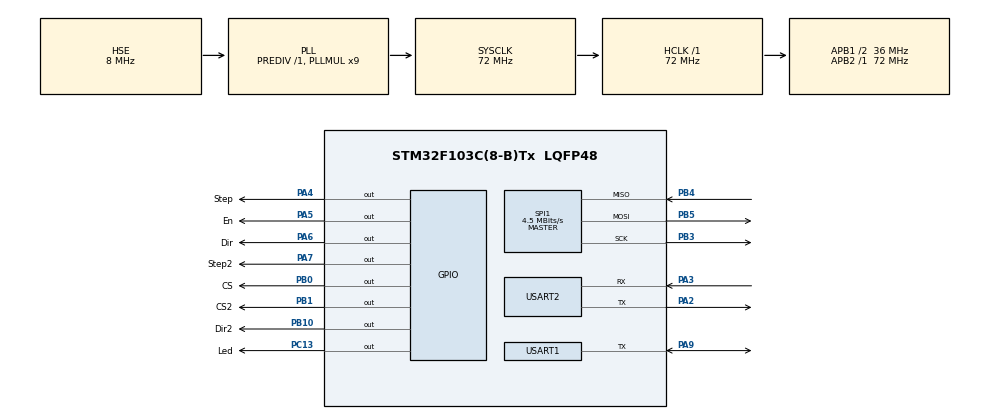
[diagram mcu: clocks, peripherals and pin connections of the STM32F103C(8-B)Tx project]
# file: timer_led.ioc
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Mcu.Family=STM32F1
Mcu.Name=STM32F103C(8-B)Tx
Mcu.Package=LQFP48
Mcu.UserConstants=T1_CNT,50000;T2_CNT,1000;T3_CNT,500
NVIC.PriorityGroup=NVIC_PRIORITYGROUP_4
NVIC.SPI1_IRQn=true\:0\:0\:false\:false\:true\:true\:true\:true
NVIC.TIM1_UP_IRQn=true\:0\:0\:false\:false\:true\:true\:true\:true
NVIC.TIM2_IRQn=true\:0\:0\:false\:false\:true\:true\:true\:true
NVIC.TIM3_IRQn=true\:0\:0\:false\:false\:true\:true\:true\:true
NVIC.USART1_IRQn=true\:0\:0\:false\:false\:true\:true\:true\:true
PA13.Mode=Serial_Wire
PA13.Signal=SYS_JTMS-SWDIO
PA14.Mode=Serial_Wire
PA14.Signal=SYS_JTCK-SWCLK
PA2.Mode=Asynchronous
PA2.Signal=USART2_TX
PA3.Mode=Asynchronous
PA3.Signal=USART2_RX
PA4.GPIO_Label=Step
PA4.Signal=GPIO_Output
PA5.GPIO_Label=En
PA5.Signal=GPIO_Output
PA6.GPIO_Label=Dir
PA6.Signal=GPIO_Output
PA7.GPIO_Label=Step2
PA7.Signal=GPIO_Output
PA9.Mode=Half_duplex(single_wire_mode)
PA9.Signal=USART1_TX
PB0.GPIO_Label=CS
PB0.Signal=GPIO_Output
PB1.GPIO_Label=CS2
PB1.Signal=GPIO_Output
PB10.GPIO_Label=Dir2
PB10.Signal=GPIO_Output
PB3.Mode=Full_Duplex_Master
PB3.Signal=SPI1_SCK
PB4.Mode=Full_Duplex_Master
PB4.Signal=SPI1_MISO
PB5.Mode=Full_Duplex_Master
PB5.Signal=SPI1_MOSI
PC13-TAMPER-RTC.GPIO_Label=Led
PC13-TAMPER-RTC.Signal=GPIO_Output
PD0-OSC_IN.Mode=HSE-External-Oscillator
PD0-OSC_IN.Signal=RCC_OSC_IN
PD1-OSC_OUT.Mode=HSE-External-Oscillator
PD1-OSC_OUT.Signal=RCC_OSC_OUT
ProjectManager.HeapSize=0x200
ProjectManager.StackSize=0x400
ProjectManager.TargetToolchain=STM32CubeIDE
RCC.AHBFreq_Value=72000000
RCC.APB1CLKDivider=RCC_HCLK_DIV2
RCC.APB1Freq_Value=36000000
RCC.APB1TimFreq_Value=72000000
RCC.APB2Freq_Value=72000000
RCC.APB2TimFreq_Value=72000000
RCC.HCLKFreq_Value=72000000
RCC.PLLMUL=RCC_PLL_MUL9
RCC.PLLSourceVirtual=RCC_PLLSOURCE_HSE
RCC.SYSCLKFreq_VALUE=72000000
RCC.SYSCLKSource=RCC_SYSCLKSOURCE_PLLCLK
RCC.USBFreq_Value=72000000
SPI1.BaudRatePrescaler=SPI_BAUDRATEPRESCALER_16
SPI1.CalculateBaudRate=4.5 MBits/s
SPI1.Direction=SPI_DIRECTION_2LINES
SPI1.Mode=SPI_MODE_MASTER
SPI1.VirtualType=VM_MASTER
TIM1.Period=50000
TIM1.Prescaler=719
TIM1.TIM_MasterOutputTrigger=TIM_TRGO_UPDATE
TIM2.Period=50000
TIM2.Prescaler=719
TIM2.TIM_MasterOutputTrigger=TIM_TRGO_UPDATE
TIM3.Period=50000
TIM3.Prescaler=719
TIM3.TIM_MasterOutputTrigger=TIM_TRGO_UPDATE
USART1.VirtualMode=VM_ASYNC
USART2.VirtualMode=VM_ASYNC
VP_TIM1_VS_ClockSourceINT.Mode=Internal
VP_TIM2_VS_ClockSourceINT.Mode=Internal
VP_TIM3_VS_ClockSourceINT.Mode=Internal
board=custom

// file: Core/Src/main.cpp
/* USER CODE BEGIN Header */
/**
  ******************************************************************************
  * @file           : main.c
  * @brief          : Main program body
  ******************************************************************************
  * @attention
  *
  * Copyright (c) 2023 STMicroelectronics.
  * All rights reserved.
  *
  * This software is licensed under terms that can be found in the LICENSE file
  * in the root directory of this software component.
  * If no LICENSE file comes with this software, it is provided AS-IS.
  *
  ******************************************************************************
  */
/* USER CODE END Header */
#include "main.h"

/* USER CODE BEGIN Includes */
#include <DWT_Delay.h>
#include "TMC2209.h"
#include "AMT22.h"
/* USER CODE END Includes */

SPI_HandleTypeDef hspi1;

TIM_HandleTypeDef htim1;
TIM_HandleTypeDef htim2;
TIM_HandleTypeDef htim3;

UART_HandleTypeDef huart1;
UART_HandleTypeDef huart2;

TMC2209 tmcd1,tmcd0;

uint8_t rx_index = 0;
uint8_t rx_data[20];
uint8_t rx_buffer[9];
uint8_t transfer_cplt = 0;

bool startMove=false;
uint16_t recAngle=0;
uint16_t recDist=0;
bool flagReadEnc = 0;

int cnt1=0;
int cnt2=0;
int cnt3=0;

void SystemClock_Config(void);
static void MX_GPIO_Init(void);
static void MX_TIM1_Init(void);
static void MX_TIM2_Init(void);
static void MX_TIM3_Init(void);
static void MX_USART1_UART_Init(void);
static void MX_USART2_UART_Init(void);
static void MX_SPI1_Init(void);

/* USER CODE BEGIN 0 */
// Override the weak call back function
void HAL_TIM_PeriodElapsedCallback(TIM_HandleTypeDef *htim) {
      if (htim->Instance == TIM1) {
    	  HAL_GPIO_TogglePin(Led_GPIO_Port, Led_Pin);
    	  if (--cnt1==0)
    		  HAL_TIM_Base_Stop_IT(&htim1);
      }
      if (htim->Instance == TIM2) {
    	  HAL_GPIO_TogglePin(Step_GPIO_Port, Step_Pin);
    	  if (--cnt2==0)
    		  HAL_TIM_Base_Stop_IT(&htim2);
      }
      if (htim->Instance == TIM3) {
    	  HAL_GPIO_TogglePin(Step2_GPIO_Port, Step2_Pin);
    	  if (--cnt3==0)
    		  HAL_TIM_Base_Stop_IT(&htim3);
      }
}
/* USER CODE END 0 */

int main(void)
{

  /* MCU Configuration--------------------------------------------------------*/

  /* Reset of all peripherals, Initializes the Flash interface and the Systick. */
  HAL_Init();

  /* Configure the system clock */
  SystemClock_Config();

  /* Initialize all configured peripherals */
  MX_GPIO_Init();
  MX_TIM1_Init();
  MX_TIM2_Init();
  MX_TIM3_Init();
  MX_USART1_UART_Init();
  MX_USART2_UART_Init();
  MX_SPI1_Init();
  /* USER CODE BEGIN 2 */
  //HAL_TIM_Base_Start_IT(&htim1);
  //HAL_TIM_Base_Start_IT(&htim2);
  //HAL_Delay(10000);
  //HAL_TIM_Base_Start_IT(&htim3);
//  DWT_Delay_Init();

  tmcd0.setup(&huart1, 115200, tmcd0.SERIAL_ADDRESS_0);
  uint8_t ver0 = tmcd0.getVersion();
  tmcd0.setRunCurrent(100);
  tmcd0.enable();
  tmcd0.setMicrostepsPerStepPowerOfTwo(0);

  tmcd1.setup(&huart1, 115200, tmcd1.SERIAL_ADDRESS_1);
  uint8_t ver1 =  tmcd1.getVersion();
  tmcd1.setRunCurrent(100);
  tmcd1.enable();
  tmcd1.setMicrostepsPerStepPowerOfTwo(0);

  setZeroSPI(&hspi1, CS_GPIO_Port, CS_Pin);
  setZeroSPI(&hspi1, CS2_GPIO_Port, CS2_Pin);

  //HAL_TIM_Base_Start_IT(&htim1);
  //HAL_TIM_Base_Start_IT(&htim2);
  //HAL_TIM_Base_Start_IT(&htim3);
  /* USER CODE END 2 */

  /* Infinite loop */
  while (1)
  {
	  cnt1=5*2;
	  cnt2=100*2;
	  cnt3=200*2;

	  //htim2M2->Instance->ARR

	  //printf("Status0: %d | %d | %d\n",cnt1,cnt2,cnt3);
	  HAL_TIM_Base_Start_IT(&htim1); // запуск таймера
	  HAL_TIM_Base_Start_IT(&htim2); // запуск таймера
	  HAL_TIM_Base_Start_IT(&htim3); // запуск таймера

	  //while (cnt1>0 | cnt2>0 | cnt3>0 ){
		  //printf("Status: %d | %d | %d\n",cnt1,cnt2,cnt3);
		  //HAL_Delay(100);
	  //}
	  //printf("Stopped\n");
	  HAL_Delay(1000);
	  uint32_t posNowEnc1 = getPositionSPI(&hspi1, CS_GPIO_Port, CS_Pin, 14);
	  uint32_t posNowEnc2 = getPositionSPI(&hspi1, CS2_GPIO_Port, CS2_Pin, 14);
	  HAL_Delay(4000);
	  //printf("-------------------\n");
  }
}

void SystemClock_Config(void)
{
  RCC_OscInitTypeDef RCC_OscInitStruct = {0};
  RCC_ClkInitTypeDef RCC_ClkInitStruct = {0};

  /** Initializes the RCC Oscillators according to the specified parameters
  * in the RCC_OscInitTypeDef structure.
  */
  RCC_OscInitStruct.OscillatorType = RCC_OSCILLATORTYPE_HSE;
  RCC_OscInitStruct.HSEState = RCC_HSE_ON;
  RCC_OscInitStruct.HSEPredivValue = RCC_HSE_PREDIV_DIV1;
  RCC_OscInitStruct.HSIState = RCC_HSI_ON;
  RCC_OscInitStruct.PLL.PLLState = RCC_PLL_ON;
  RCC_OscInitStruct.PLL.PLLSource = RCC_PLLSOURCE_HSE;
  RCC_OscInitStruct.PLL.PLLMUL = RCC_PLL_MUL9;
  if (HAL_RCC_OscConfig(&RCC_OscInitStruct) != HAL_OK)
  {
    Error_Handler();
  }

  /** Initializes the CPU, AHB and APB buses clocks
  */
  RCC_ClkInitStruct.ClockType = RCC_CLOCKTYPE_HCLK|RCC_CLOCKTYPE_SYSCLK
                              |RCC_CLOCKTYPE_PCLK1|RCC_CLOCKTYPE_PCLK2;
  RCC_ClkInitStruct.SYSCLKSource = RCC_SYSCLKSOURCE_PLLCLK;
  RCC_ClkInitStruct.AHBCLKDivider = RCC_SYSCLK_DIV1;
  RCC_ClkInitStruct.APB1CLKDivider = RCC_HCLK_DIV2;
  RCC_ClkInitStruct.APB2CLKDivider = RCC_HCLK_DIV1;

  if (HAL_RCC_ClockConfig(&RCC_ClkInitStruct, FLASH_LATENCY_2) != HAL_OK)
  {
    Error_Handler();
  }
}

static void MX_SPI1_Init(void)
{

  /* SPI1 parameter configuration*/
  hspi1.Instance = SPI1;
  hspi1.Init.Mode = SPI_MODE_MASTER;
  hspi1.Init.Direction = SPI_DIRECTION_2LINES;
  hspi1.Init.DataSize = SPI_DATASIZE_8BIT;
  hspi1.Init.CLKPolarity = SPI_POLARITY_LOW;
  hspi1.Init.CLKPhase = SPI_PHASE_1EDGE;
  hspi1.Init.NSS = SPI_NSS_SOFT;
  hspi1.Init.BaudRatePrescaler = SPI_BAUDRATEPRESCALER_16;
  hspi1.Init.FirstBit = SPI_FIRSTBIT_MSB;
  hspi1.Init.TIMode = SPI_TIMODE_DISABLE;
  hspi1.Init.CRCCalculation = SPI_CRCCALCULATION_DISABLE;
  hspi1.Init.CRCPolynomial = 10;
  if (HAL_SPI_Init(&hspi1) != HAL_OK)
  {
    Error_Handler();
  }

}

static void MX_TIM1_Init(void)
{

  TIM_ClockConfigTypeDef sClockSourceConfig = {0};
  TIM_MasterConfigTypeDef sMasterConfig = {0};

  htim1.Instance = TIM1;
  htim1.Init.Prescaler = 719;
  htim1.Init.CounterMode = TIM_COUNTERMODE_UP;
  htim1.Init.Period = T1_CNT;
  htim1.Init.ClockDivision = TIM_CLOCKDIVISION_DIV1;
  htim1.Init.RepetitionCounter = 0;
  htim1.Init.AutoReloadPreload = TIM_AUTORELOAD_PRELOAD_DISABLE;
  if (HAL_TIM_Base_Init(&htim1) != HAL_OK)
  {
    Error_Handler();
  }
  sClockSourceConfig.ClockSource = TIM_CLOCKSOURCE_INTERNAL;
  if (HAL_TIM_ConfigClockSource(&htim1, &sClockSourceConfig) != HAL_OK)
  {
    Error_Handler();
  }
  sMasterConfig.MasterOutputTrigger = TIM_TRGO_UPDATE;
  sMasterConfig.MasterSlaveMode = TIM_MASTERSLAVEMODE_DISABLE;
  if (HAL_TIMEx_MasterConfigSynchronization(&htim1, &sMasterConfig) != HAL_OK)
  {
    Error_Handler();
  }

}

static void MX_TIM2_Init(void)
{

  TIM_ClockConfigTypeDef sClockSourceConfig = {0};
  TIM_MasterConfigTypeDef sMasterConfig = {0};

  htim2.Instance = TIM2;
  htim2.Init.Prescaler = 719;
  htim2.Init.CounterMode = TIM_COUNTERMODE_UP;
  htim2.Init.Period = T2_CNT;
  htim2.Init.ClockDivision = TIM_CLOCKDIVISION_DIV1;
  htim2.Init.AutoReloadPreload = TIM_AUTORELOAD_PRELOAD_DISABLE;
  if (HAL_TIM_Base_Init(&htim2) != HAL_OK)
  {
    Error_Handler();
  }
  sClockSourceConfig.ClockSource = TIM_CLOCKSOURCE_INTERNAL;
  if (HAL_TIM_ConfigClockSource(&htim2, &sClockSourceConfig) != HAL_OK)
  {
    Error_Handler();
  }
  sMasterConfig.MasterOutputTrigger = TIM_TRGO_UPDATE;
  sMasterConfig.MasterSlaveMode = TIM_MASTERSLAVEMODE_DISABLE;
  if (HAL_TIMEx_MasterConfigSynchronization(&htim2, &sMasterConfig) != HAL_OK)
  {
    Error_Handler();
  }

}

static void MX_TIM3_Init(void)
{

  TIM_ClockConfigTypeDef sClockSourceConfig = {0};
  TIM_MasterConfigTypeDef sMasterConfig = {0};

  htim3.Instance = TIM3;
  htim3.Init.Prescaler = 719;
  htim3.Init.CounterMode = TIM_COUNTERMODE_UP;
  htim3.Init.Period = T3_CNT;
  htim3.Init.ClockDivision = TIM_CLOCKDIVISION_DIV1;
  htim3.Init.AutoReloadPreload = TIM_AUTORELOAD_PRELOAD_DISABLE;
  if (HAL_TIM_Base_Init(&htim3) != HAL_OK)
  {
    Error_Handler();
  }
  sClockSourceConfig.ClockSource = TIM_CLOCKSOURCE_INTERNAL;
  if (HAL_TIM_ConfigClockSource(&htim3, &sClockSourceConfig) != HAL_OK)
  {
    Error_Handler();
  }
  sMasterConfig.MasterOutputTrigger = TIM_TRGO_UPDATE;
  sMasterConfig.MasterSlaveMode = TIM_MASTERSLAVEMODE_DISABLE;
  if (HAL_TIMEx_MasterConfigSynchronization(&htim3, &sMasterConfig) != HAL_OK)
  {
    Error_Handler();
  }

}

static void MX_USART1_UART_Init(void)
{

  huart1.Instance = USART1;
  huart1.Init.BaudRate = 115200;
  huart1.Init.WordLength = UART_WORDLENGTH_8B;
  huart1.Init.StopBits = UART_STOPBITS_1;
  huart1.Init.Parity = UART_PARITY_NONE;
  huart1.Init.Mode = UART_MODE_TX_RX;
  huart1.Init.HwFlowCtl = UART_HWCONTROL_NONE;
  huart1.Init.OverSampling = UART_OVERSAMPLING_16;
  if (HAL_HalfDuplex_Init(&huart1) != HAL_OK)
  {
    Error_Handler();
  }

}

static void MX_USART2_UART_Init(void)
{

  huart2.Instance = USART2;
  huart2.Init.BaudRate = 115200;
  huart2.Init.WordLength = UART_WORDLENGTH_8B;
  huart2.Init.StopBits = UART_STOPBITS_1;
  huart2.Init.Parity = UART_PARITY_NONE;
  huart2.Init.Mode = UART_MODE_TX_RX;
  huart2.Init.HwFlowCtl = UART_HWCONTROL_NONE;
  huart2.Init.OverSampling = UART_OVERSAMPLING_16;
  if (HAL_UART_Init(&huart2) != HAL_OK)
  {
	  Error_Handler();
  }

}

static void MX_GPIO_Init(void)
{
  GPIO_InitTypeDef GPIO_InitStruct = {0};

  /* GPIO Ports Clock Enable */
  __HAL_RCC_GPIOC_CLK_ENABLE();
  __HAL_RCC_GPIOD_CLK_ENABLE();
  __HAL_RCC_GPIOA_CLK_ENABLE();
  __HAL_RCC_GPIOB_CLK_ENABLE();

  /*Configure GPIO pin Output Level */
  HAL_GPIO_WritePin(Led_GPIO_Port, Led_Pin, GPIO_PIN_RESET);

  /*Configure GPIO pin Output Level */
  HAL_GPIO_WritePin(GPIOA, Step_Pin|En_Pin|Dir_Pin|Step2_Pin, GPIO_PIN_RESET);

  /*Configure GPIO pin Output Level */
  HAL_GPIO_WritePin(GPIOB, CS_Pin|CS2_Pin|Dir2_Pin, GPIO_PIN_RESET);

  /*Configure GPIO pin : Led_Pin */
  GPIO_InitStruct.Pin = Led_Pin;
  GPIO_InitStruct.Mode = GPIO_MODE_OUTPUT_PP;
  GPIO_InitStruct.Pull = GPIO_NOPULL;
  GPIO_InitStruct.Speed = GPIO_SPEED_FREQ_LOW;
  HAL_GPIO_Init(Led_GPIO_Port, &GPIO_InitStruct);

  /*Configure GPIO pins : Step_Pin En_Pin Dir_Pin Step2_Pin */
  GPIO_InitStruct.Pin = Step_Pin|En_Pin|Dir_Pin|Step2_Pin;
  GPIO_InitStruct.Mode = GPIO_MODE_OUTPUT_PP;
  GPIO_InitStruct.Pull = GPIO_NOPULL;
  GPIO_InitStruct.Speed = GPIO_SPEED_FREQ_LOW;
  HAL_GPIO_Init(GPIOA, &GPIO_InitStruct);

  /*Configure GPIO pins : CS_Pin CS2_Pin Dir2_Pin */
  GPIO_InitStruct.Pin = CS_Pin|CS2_Pin|Dir2_Pin;
  GPIO_InitStruct.Mode = GPIO_MODE_OUTPUT_PP;
  GPIO_InitStruct.Pull = GPIO_NOPULL;
  GPIO_InitStruct.Speed = GPIO_SPEED_FREQ_LOW;
  HAL_GPIO_Init(GPIOB, &GPIO_InitStruct);

}

/* USER CODE BEGIN 4 */
/*void HAL_UART_RxCpltCallback(UART_HandleTypeDef *huart) {
	//UNUSED(huart);
	if (huart == &huart2) {
//		if(!strcmp(rx_buffer,"TEXT")) {
//
//		}
		if (rx_buffer[0] == '1') {
			recAngle = ((rx_buffer[1] - '0') * 100)
					+ ((rx_buffer[2] - '0') * 10) + (rx_buffer[3] - '0');
			recDist = ((rx_buffer[4] - '0') * 100)
					+ ((rx_buffer[5] - '0') * 10) + (rx_buffer[6] - '0');
			HAL_UART_Transmit_IT(&huart1, rx_buffer, 8);
			//	HAL_UART_Transmit_IT(&huart1,reinterpret_cast<uint8_t *>(recDist), sizeof(recDist));
			startMove=true;
		}
		memset(rx_buffer, 0, sizeof(rx_buffer));
	}
	HAL_UART_Receive_IT(&huart1, rx_buffer, sizeof(rx_buffer));
}*/
/* USER CODE END 4 */

void Error_Handler(void)
{
  __disable_irq();
  while (1)
  {
  }
}
